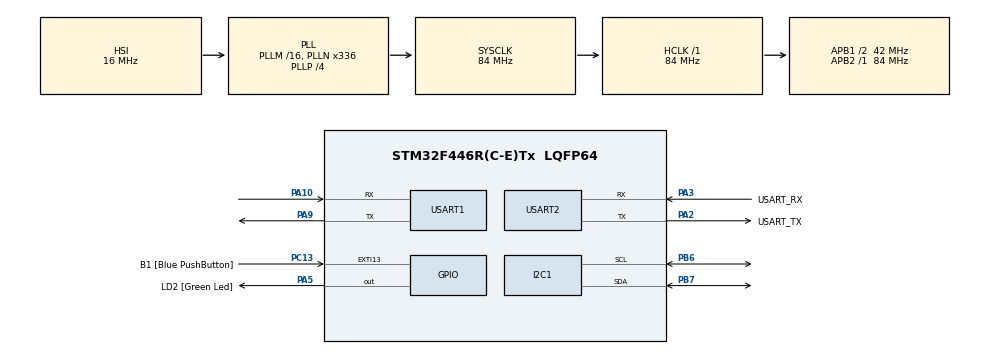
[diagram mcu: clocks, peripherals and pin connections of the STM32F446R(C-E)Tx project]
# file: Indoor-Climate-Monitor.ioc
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Mcu.Family=STM32F4
Mcu.Name=STM32F446R(C-E)Tx
Mcu.Package=LQFP64
NVIC.PriorityGroup=NVIC_PRIORITYGROUP_0
NVIC.USART1_IRQn=true\:0\:0\:false\:false\:true\:true\:true\:true
PA10.Mode=Asynchronous
PA10.Signal=USART1_RX
PA13.GPIO_Label=TMS
PA13.Mode=Serial_Wire
PA13.Signal=SYS_JTMS-SWDIO
PA14.GPIO_Label=TCK
PA14.Mode=Serial_Wire
PA14.Signal=SYS_JTCK-SWCLK
PA2.GPIO_Label=USART_TX
PA2.Mode=Asynchronous
PA2.Signal=USART2_TX
PA3.GPIO_Label=USART_RX
PA3.Mode=Asynchronous
PA3.Signal=USART2_RX
PA5.GPIO_Label=LD2 [Green Led]
PA5.Signal=GPIO_Output
PA9.Mode=Asynchronous
PA9.Signal=USART1_TX
PB3.GPIO_Label=SWO
PB3.Signal=SYS_JTDO-SWO
PB6.Mode=I2C
PB6.Signal=I2C1_SCL
PB7.Mode=I2C
PB7.Signal=I2C1_SDA
PC13.GPIO_Label=B1 [Blue PushButton]
PC13.GPIO_ModeDefaultEXTI=GPIO_MODE_IT_FALLING
PC13.Signal=GPXTI13
PC14-OSC32_IN.Mode=LSE-External-Oscillator
PC14-OSC32_IN.Signal=RCC_OSC32_IN
PC15-OSC32_OUT.Mode=LSE-External-Oscillator
PC15-OSC32_OUT.Signal=RCC_OSC32_OUT
PH0-OSC_IN.Mode=HSE-External-Oscillator
PH0-OSC_IN.Signal=RCC_OSC_IN
PH1-OSC_OUT.Mode=HSE-External-Oscillator
PH1-OSC_OUT.Signal=RCC_OSC_OUT
ProjectManager.HeapSize=0x200
ProjectManager.StackSize=0x400
ProjectManager.TargetToolchain=STM32CubeIDE
RCC.48MHZClocksFreq_Value=84000000
RCC.AHBFreq_Value=84000000
RCC.APB1CLKDivider=RCC_HCLK_DIV2
RCC.APB1Freq_Value=42000000
RCC.APB1TimFreq_Value=84000000
RCC.APB2Freq_Value=84000000
RCC.APB2TimFreq_Value=84000000
RCC.CortexFreq_Value=84000000
RCC.FLatency-AdvancedSettings=FLASH_LATENCY_2
RCC.HCLKFreq_Value=84000000
RCC.HSE_VALUE=8000000
RCC.HSI_VALUE=16000000
RCC.PLLN=336
RCC.PLLP=RCC_PLLP_DIV4
RCC.SYSCLKFreq_VALUE=84000000
RCC.SYSCLKSource=RCC_SYSCLKSOURCE_PLLCLK
RCC.USBFreq_Value=168000000
RCC.VCOOutputFreq_Value=336000000
USART1.VirtualMode=VM_ASYNC
USART2.VirtualMode=VM_ASYNC
board=NUCLEO-F446RE

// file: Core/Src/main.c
/* USER CODE BEGIN Header */
/**
  ******************************************************************************
  * @file           : main.c
  * @brief          : Main program body
  ******************************************************************************
  * @attention
  *
  * Copyright (c) 2025 STMicroelectronics.
  * All rights reserved.
  *
  * This software is licensed under terms that can be found in the LICENSE file
  * in the root directory of this software component.
  * If no LICENSE file comes with this software, it is provided AS-IS.
  *
  ******************************************************************************
  */
/* USER CODE END Header */
#include "main.h"

/* USER CODE BEGIN Includes */
#include "i2c_lcd.h"
/* USER CODE END Includes */

I2C_HandleTypeDef hi2c1;

UART_HandleTypeDef huart1;
UART_HandleTypeDef huart2;

/* USER CODE BEGIN PV */
I2C_LCD_HandleTypeDef lcd;

/* USER CODE END PV */

void SystemClock_Config(void);
static void MX_GPIO_Init(void);
static void MX_USART2_UART_Init(void);
static void MX_I2C1_Init(void);
static void MX_USART1_UART_Init(void);
/* USER CODE BEGIN PFP */
void init_lcd(void);
void temp_monitor_setup(void);
void set_temp(int temperature);
void set_humd(int humidity);
char* int_to_string(char* buffer, int num);
/* USER CODE END PFP */

int main(void)
{

  /* MCU Configuration--------------------------------------------------------*/

  /* Reset of all peripherals, Initializes the Flash interface and the Systick. */
  HAL_Init();

  /* Configure the system clock */
  SystemClock_Config();

  /* Initialize all configured peripherals */
  MX_GPIO_Init();
  MX_USART2_UART_Init();
  MX_I2C1_Init();
  MX_USART1_UART_Init();
  /* USER CODE BEGIN 2 */

  init_lcd();
  temp_monitor_setup();
  // Add delay just so the start up screen doens't display garbage data
  HAL_Delay(1000);

  set_temp(50);
  set_humd(42);

  /* USER CODE END 2 */

  /* Infinite loop */
  while (1)
  {

  }
}

void SystemClock_Config(void)
{
  RCC_OscInitTypeDef RCC_OscInitStruct = {0};
  RCC_ClkInitTypeDef RCC_ClkInitStruct = {0};

  /** Configure the main internal regulator output voltage
  */
  __HAL_RCC_PWR_CLK_ENABLE();
  __HAL_PWR_VOLTAGESCALING_CONFIG(PWR_REGULATOR_VOLTAGE_SCALE3);

  /** Initializes the RCC Oscillators according to the specified parameters
  * in the RCC_OscInitTypeDef structure.
  */
  RCC_OscInitStruct.OscillatorType = RCC_OSCILLATORTYPE_HSI;
  RCC_OscInitStruct.HSIState = RCC_HSI_ON;
  RCC_OscInitStruct.HSICalibrationValue = RCC_HSICALIBRATION_DEFAULT;
  RCC_OscInitStruct.PLL.PLLState = RCC_PLL_ON;
  RCC_OscInitStruct.PLL.PLLSource = RCC_PLLSOURCE_HSI;
  RCC_OscInitStruct.PLL.PLLM = 16;
  RCC_OscInitStruct.PLL.PLLN = 336;
  RCC_OscInitStruct.PLL.PLLP = RCC_PLLP_DIV4;
  RCC_OscInitStruct.PLL.PLLQ = 2;
  RCC_OscInitStruct.PLL.PLLR = 2;
  if (HAL_RCC_OscConfig(&RCC_OscInitStruct) != HAL_OK)
  {
    Error_Handler();
  }

  /** Initializes the CPU, AHB and APB buses clocks
  */
  RCC_ClkInitStruct.ClockType = RCC_CLOCKTYPE_HCLK|RCC_CLOCKTYPE_SYSCLK
                              |RCC_CLOCKTYPE_PCLK1|RCC_CLOCKTYPE_PCLK2;
  RCC_ClkInitStruct.SYSCLKSource = RCC_SYSCLKSOURCE_PLLCLK;
  RCC_ClkInitStruct.AHBCLKDivider = RCC_SYSCLK_DIV1;
  RCC_ClkInitStruct.APB1CLKDivider = RCC_HCLK_DIV2;
  RCC_ClkInitStruct.APB2CLKDivider = RCC_HCLK_DIV1;

  if (HAL_RCC_ClockConfig(&RCC_ClkInitStruct, FLASH_LATENCY_2) != HAL_OK)
  {
    Error_Handler();
  }
}

static void MX_I2C1_Init(void)
{

  hi2c1.Instance = I2C1;
  hi2c1.Init.ClockSpeed = 100000;
  hi2c1.Init.DutyCycle = I2C_DUTYCYCLE_2;
  hi2c1.Init.OwnAddress1 = 0;
  hi2c1.Init.AddressingMode = I2C_ADDRESSINGMODE_7BIT;
  hi2c1.Init.DualAddressMode = I2C_DUALADDRESS_DISABLE;
  hi2c1.Init.OwnAddress2 = 0;
  hi2c1.Init.GeneralCallMode = I2C_GENERALCALL_DISABLE;
  hi2c1.Init.NoStretchMode = I2C_NOSTRETCH_DISABLE;
  if (HAL_I2C_Init(&hi2c1) != HAL_OK)
  {
    Error_Handler();
  }

}

static void MX_USART1_UART_Init(void)
{

  huart1.Instance = USART1;
  huart1.Init.BaudRate = 115200;
  huart1.Init.WordLength = UART_WORDLENGTH_8B;
  huart1.Init.StopBits = UART_STOPBITS_1;
  huart1.Init.Parity = UART_PARITY_NONE;
  huart1.Init.Mode = UART_MODE_TX_RX;
  huart1.Init.HwFlowCtl = UART_HWCONTROL_NONE;
  huart1.Init.OverSampling = UART_OVERSAMPLING_16;
  if (HAL_UART_Init(&huart1) != HAL_OK)
  {
    Error_Handler();
  }

}

static void MX_USART2_UART_Init(void)
{

  huart2.Instance = USART2;
  huart2.Init.BaudRate = 115200;
  huart2.Init.WordLength = UART_WORDLENGTH_8B;
  huart2.Init.StopBits = UART_STOPBITS_1;
  huart2.Init.Parity = UART_PARITY_NONE;
  huart2.Init.Mode = UART_MODE_TX_RX;
  huart2.Init.HwFlowCtl = UART_HWCONTROL_NONE;
  huart2.Init.OverSampling = UART_OVERSAMPLING_16;
  if (HAL_UART_Init(&huart2) != HAL_OK)
  {
    Error_Handler();
  }

}

static void MX_GPIO_Init(void)
{
  GPIO_InitTypeDef GPIO_InitStruct = {0};

  /* GPIO Ports Clock Enable */
  __HAL_RCC_GPIOC_CLK_ENABLE();
  __HAL_RCC_GPIOH_CLK_ENABLE();
  __HAL_RCC_GPIOA_CLK_ENABLE();
  __HAL_RCC_GPIOB_CLK_ENABLE();

  /*Configure GPIO pin Output Level */
  HAL_GPIO_WritePin(LD2_GPIO_Port, LD2_Pin, GPIO_PIN_RESET);

  /*Configure GPIO pin : B1_Pin */
  GPIO_InitStruct.Pin = B1_Pin;
  GPIO_InitStruct.Mode = GPIO_MODE_IT_FALLING;
  GPIO_InitStruct.Pull = GPIO_NOPULL;
  HAL_GPIO_Init(B1_GPIO_Port, &GPIO_InitStruct);

  /*Configure GPIO pin : LD2_Pin */
  GPIO_InitStruct.Pin = LD2_Pin;
  GPIO_InitStruct.Mode = GPIO_MODE_OUTPUT_PP;
  GPIO_InitStruct.Pull = GPIO_NOPULL;
  GPIO_InitStruct.Speed = GPIO_SPEED_FREQ_LOW;
  HAL_GPIO_Init(LD2_GPIO_Port, &GPIO_InitStruct);

}

/* USER CODE BEGIN 4 */
void init_lcd(void) {
  lcd.hi2c = &hi2c1;
  lcd.address = 0x27 << 1;
  lcd_init(&lcd);

  // Display initial text
  lcd_clear(&lcd);
  lcd_puts(&lcd, "Initializing...");
  HAL_Delay(500);
}

void temp_monitor_setup(void) {
  lcd_clear(&lcd);
  lcd_puts(&lcd, "Temp: ");
  lcd_gotoxy(&lcd, 0, 1);
  lcd_puts(&lcd, "Humd: ");
}

void set_temp(int temperature) {
  char temp_str[10];
  int_to_string(temp_str, temperature);
  lcd_gotoxy(&lcd, 6, 0);
  lcd_puts(&lcd, "   C ");
  lcd_gotoxy(&lcd, 6, 0);
  lcd_puts(&lcd, temp_str);

}

void set_humd(int humidity) {
  char humd_str[10];
  int_to_string(humd_str, humidity);
  lcd_gotoxy(&lcd, 6, 1);
  lcd_puts(&lcd, "   %  ");
  lcd_gotoxy(&lcd, 6, 1);
  lcd_puts(&lcd, humd_str);
}

char* int_to_string(char* buffer, int num) {
  if (buffer == NULL) return NULL;

  char* ptr = buffer;
  char* start;
  int is_negative = 0;

  if (num < 0) {
    is_negative = 1;
    num = -num;
  }

  if (num == 0) {
    *ptr++ = '0';
    *ptr = '\0';
    return buffer;
  }

  while (num > 0) {
    *ptr++ = '0' + (num % 10);
    num /= 10;
  }

  if (is_negative) {
    *ptr++ = '-';
  }

  *ptr = '\0';
  start = buffer;
  ptr--;

  while (start < ptr) {
      char temp = *start;
      *start = *ptr;
      *ptr = temp;
      start++;
      ptr--;
  }

  return buffer;
}
/* USER CODE END 4 */

void Error_Handler(void)
{
  __disable_irq();
  while (1)
  {
  }
}
